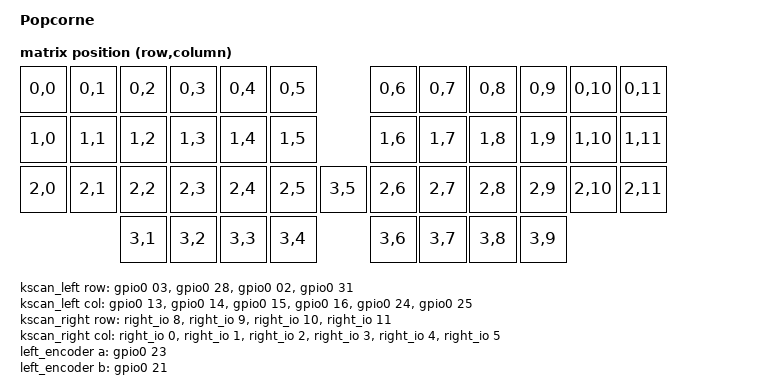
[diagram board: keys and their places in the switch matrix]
/*
 * Copyright (c) 2025 Joris Wachsmuth
 * SPDX-License-Identifier: MIT
 */

/dts-v1/;
#include <nordic/nrf52840_qiaa.dtsi>

#include <dt-bindings/led/led.h>
#include <dt-bindings/zmk/matrix_transform.h>

#include "popcorne-pinctrl.dtsi"
#include "popcorne-layouts.dtsi"

&popcorne_layout {
    transform = <&matrix_transform0>;
};

/ {
    model = "Popcorne";
    compatible = "popcorne";

    chosen {
        zephyr,code-partition = &code_partition;
        zephyr,sram = &sram0;
        zephyr,flash = &flash0;
        zephyr,display = &oled;
        zmk,battery = &vbatt;
        zmk,kscan = &kscan0;
        zmk,physical-layout = &popcorne_layout;
        zmk,underglow = &led_strip;
    };

    matrix_transform0: matrix_transform0 {
        compatible = "zmk,matrix-transform";
        rows = <4>;
        columns = <12>;

        map = <
        RC(0,0) RC(0,1) RC(0,2) RC(0,3) RC(0,4) RC(0,5)           RC(0,6) RC(0,7) RC(0,8) RC(0,9) RC(0,10) RC(0,11)
        RC(1,0) RC(1,1) RC(1,2) RC(1,3) RC(1,4) RC(1,5)           RC(1,6) RC(1,7) RC(1,8) RC(1,9) RC(1,10) RC(1,11)
        RC(2,0) RC(2,1) RC(2,2) RC(2,3) RC(2,4) RC(2,5) RC(3,5)   RC(2,6) RC(2,7) RC(2,8) RC(2,9) RC(2,10) RC(2,11)
                        RC(3,1) RC(3,2) RC(3,3) RC(3,4)           RC(3,6) RC(3,7) RC(3,8) RC(3,9)
        >;
    };

    kscan0: kscan0 {
        compatible = "zmk,kscan-composite";
        rows = <4>;
        columns = <12>;

        left {
            kscan = <&kscan_left>;
        };

        right {
            kscan = <&kscan_right>;
            col-offset = <6>;
        };
    };

    kscan_left: kscan_left {
        compatible = "zmk,kscan-gpio-matrix";

        debounce-press-ms=<1>;
        debounce-release-ms=<1>;

        diode-direction = "row2col";

        col-gpios
            = <&gpio0 13 (GPIO_ACTIVE_HIGH | GPIO_PULL_DOWN)>
            , <&gpio0 14 (GPIO_ACTIVE_HIGH | GPIO_PULL_DOWN)>
            , <&gpio0 15 (GPIO_ACTIVE_HIGH | GPIO_PULL_DOWN)>
            , <&gpio0 16 (GPIO_ACTIVE_HIGH | GPIO_PULL_DOWN)>
            , <&gpio0 24 (GPIO_ACTIVE_HIGH | GPIO_PULL_DOWN)>
            , <&gpio0 25 (GPIO_ACTIVE_HIGH | GPIO_PULL_DOWN)>
            ;
        row-gpios
            = <&gpio0 03 (GPIO_ACTIVE_HIGH)>
            , <&gpio0 28 (GPIO_ACTIVE_HIGH)>
            , <&gpio0 02 (GPIO_ACTIVE_HIGH)>
            , <&gpio0 31 (GPIO_ACTIVE_HIGH)>
            ;
    };

    kscan_right: kscan_right {
        compatible = "zmk,kscan-gpio-matrix";

        debounce-press-ms=<1>;
        debounce-release-ms=<1>;

        diode-direction = "col2row";

        col-gpios
            = <&right_io 0 (GPIO_ACTIVE_LOW)>
            , <&right_io 1 (GPIO_ACTIVE_LOW)>
            , <&right_io 2 (GPIO_ACTIVE_LOW)>
            , <&right_io 3 (GPIO_ACTIVE_LOW)>
            , <&right_io 4 (GPIO_ACTIVE_LOW)>
            , <&right_io 5 (GPIO_ACTIVE_LOW)>
            ;
        row-gpios
            = <&right_io 8 (GPIO_ACTIVE_LOW | GPIO_PULL_UP)>
            , <&right_io 9 (GPIO_ACTIVE_LOW | GPIO_PULL_UP)>
            , <&right_io 10 (GPIO_ACTIVE_LOW | GPIO_PULL_UP)>
            , <&right_io 11 (GPIO_ACTIVE_LOW | GPIO_PULL_UP)>
            ;
    };

    // Node name must match original "EXT_POWER" label to preserve user settings. HINT: This board does not use this feature and the power mode needs to be switched manually via a keycode.
    EXT_POWER {
        compatible = "zmk,ext-power-generic";
        control-gpios = <&gpio0 5 GPIO_ACTIVE_LOW>;
    };

    vbatt: vbatt {
        compatible = "zmk,battery-voltage-divider";
        io-channels = <&adc 6>;
        output-ohms = <110000>;
        full-ohms = <(110000 + 30000)>;
    };

    left_encoder: left_encoder {
        compatible = "alps,ec11";
        steps = <30>;
        status = "disabled";

        a-gpios = <&gpio0 23 (GPIO_ACTIVE_HIGH | GPIO_PULL_UP)>;
        b-gpios = <&gpio0 21 (GPIO_ACTIVE_HIGH | GPIO_PULL_UP)>;
    };

    /*led_strip: led_strip {
        compatible = "worldsemi,ws2812-gpio";
        chain-length = <44>;
        color-mapping = <LED_COLOR_ID_GREEN
                         LED_COLOR_ID_RED
                         LED_COLOR_ID_BLUE>;
        //gpios = <&gpio1 12 0>;
        in-gpios = <&gpio1 12 0>;
    };*/

    sensors: sensors {
        compatible = "zmk,keymap-sensors";
        sensors = <&left_encoder>;
        triggers-per-rotation = <15>;
    };
};

&adc {
    status = "okay";
};

&gpiote {
    status = "okay";
};

&gpio0 {
    status = "okay";
};

&gpio1 {
    status = "okay";
};

&left_encoder {
    status = "okay";
};

&i2c0 {
    compatible = "nordic,nrf-twi";
    pinctrl-0 = <&i2c0_default>;
    pinctrl-1 = <&i2c0_sleep>;
    pinctrl-names = "default", "sleep";
    status = "okay";

    right_io: mcp23017@20 {
        compatible = "microchip,mcp230xx";
        status = "okay";
        gpio-controller;
        reg = <0x20>;
        #gpio-cells = <2>;
        ngpios = <16>;
    };

    oled: ssd1306@3c {
        compatible = "solomon,ssd1306fb";
        reg = <0x3c>;
        width = <128>;
        height = <32>;
        segment-offset = <0>;
        page-offset = <0>;
        display-offset = <0>;
        multiplex-ratio = <31>;
        segment-remap;
        com-invdir;
        com-sequential;
        inversion-on;
        prechargep = <0x22>;
    };
};

&i2s0 {
    compatible = "nordic,nrf-i2s";
    pinctrl-0 = <&i2s0_default>;
    //pinctlr-1 = <&i2s0_sleep>;
    //pinctlr-names = "default";//, "sleep";
    status = "okay";

    led_strip: ws2812@0 {
        compatible = "worldsemi,ws2812-i2s";

        reg = <0>;

        chain-length = <44>; /* arbitrary; change at will */
        color-mapping = <LED_COLOR_ID_GREEN
                         LED_COLOR_ID_RED
                         LED_COLOR_ID_BLUE>;
        reset-delay = <500>;
    };
};

//&spi3 {
//    compatible = "nordic,nrf-spim";
//
//    pinctrl-0 = <&spi3_default>;
//    pinctrl-1 = <&spi3_sleep>;
//    pinctrl-names = "default", "sleep";
//    status = "okay";
//
//    led_strip: ws2812@0 {
//        compatible = "worldsemi,ws2812-spi";
//
//        /* SPI */
//        reg = <0>; /* ignored, but necessary for SPI bindings */
//        spi-max-frequency = <4000000>;
//
//        /* WS2812 */
//        chain-length = <44>; /* number of LEDs */
//        spi-one-frame = <0x70>;
//        spi-zero-frame = <0x40>;
//        color-mapping = <LED_COLOR_ID_GREEN
//        LED_COLOR_ID_RED
//        LED_COLOR_ID_BLUE>;
//    };
//};

zephyr_udc0: &usbd {
    status = "okay";
};

&flash0 {
    /*
     * For more information, see:
     * http://docs.zephyrproject.org/latest/devices/dts/flash_partitions.html
     */
    partitions {
        compatible = "fixed-partitions";
        #address-cells = <1>;
        #size-cells = <1>;

        sd_partition: partition@0 {
            reg = <0x00000000 0x00026000>;
        };
        code_partition: partition@26000 {
            reg = <0x00026000 0x000c6000>;
        };

        /*
         * The flash starting at 0x000ec000 and ending at
         * 0x000f3fff is reserved for use by the application.
         */

        /*
         * Storage partition will be used by FCB/LittleFS/NVS
         * if enabled.
         */
        storage_partition: partition@ec000 {
            reg = <0x000ec000 0x00008000>;
        };

        boot_partition: partition@f4000 {
            reg = <0x000f4000 0x0000c000>;
        };
    };
};
